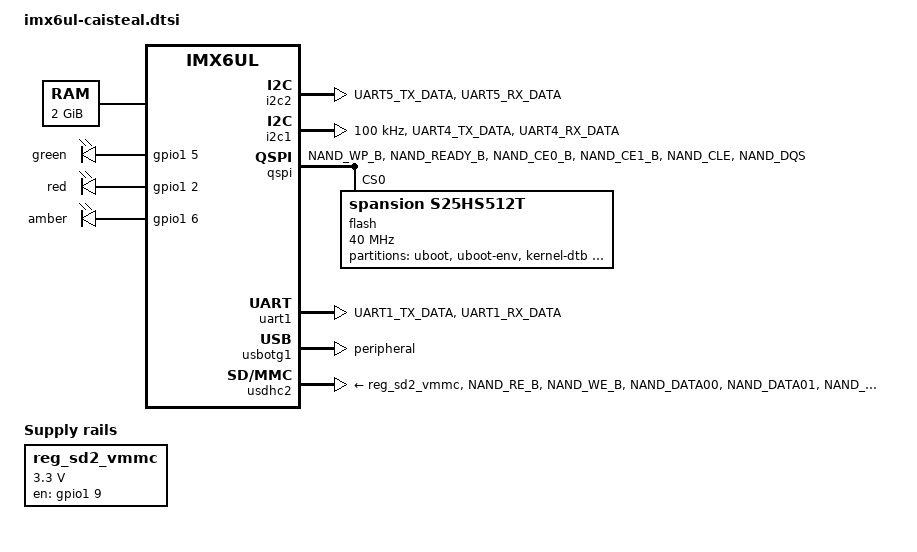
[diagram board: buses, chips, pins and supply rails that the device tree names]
//
// Copyright (C) 2021 Harkirat S Virk

/ {
	aliases {
		// spi0 = &qspi;
	};

	memory@80000000 {
		device_type = "memory";
		reg = <0x80000000 0x80000000>;
	};

	reg_sd2_vmmc: regulator-sd2-vmmc {
		compatible = "regulator-fixed";
		regulator-name = "VSD_3V3";
		regulator-min-microvolt = <3300000>;
		regulator-max-microvolt = <3300000>;
		gpio = <&gpio1 9 GPIO_ACTIVE_HIGH>;
		enable-active-high;
	};

	gpio_leds: leds {
                pinctrl-names = "default";
                pinctrl-0 = <&pinctrl_leds>;
                compatible = "gpio-leds";

                green {
                        label = "green";
                        gpios = <&gpio1 5 0>;
                };

                red {
                        label = "red";
                        gpios = <&gpio1 2 0>;
                };
		
		amber {
			label = "amber";
			gpios = <&gpio1 6 0>;
		};
        };


};


&i2c2 {
	clock_frequency = <100000>;
	pinctrl-names = "default";
	pinctrl-0 = <&pinctrl_i2c2>;
	status = "okay";

};

&i2c1 {
	clock-frequency = <100000>;
	pinctrl-names = "default";
	pinctrl-0 = <&pinctrl_i2c1>;
	status = "okay";

};

&qspi {
	pinctrl-names = "default";
	pinctrl-0 = <&pinctrl_qspi>;
	status = "okay";

	flash: m25p80@0 {
		#address-cells = <1>;
		#size-cells = <1>;
		compatible = "spansion,s25hs512t", "jedec,spi-nor";
		spi-max-frequency = <40000000>;
		spi-rx-bus-width = <4>;
		spi-tx-bus-width = <4>;
		reg = <0>;
		spi-mode = <0>;
                m25p,fast-read;
		status = "okay";

		partition@uboot {
                	label = "uboot";
                	reg = <0x00000000 0x00100000>;
        	};
		partition@uboot-env {
                	label = "uboot-env";
                	reg = <0x00100000 0x00040000>;
        	};
        	partition@kernel-dtb {
                        label = "kernel-dtb";
                        reg = <0x00140000 0x00040000>;
                };
		partition@kernel {
                	label = "kernel";
                	reg = <0x00180000 0x00A00000>;
        	};
        	partition@root {
                	label = "root";
                	reg = <0x00B80000 0x03480000>;
        	};

	};
};

&snvs_poweroff {
	status = "okay";
};

&uart1 {
	pinctrl-names = "default";
	pinctrl-0 = <&pinctrl_uart1>;
	status = "okay";
};

&usbotg1 {
	dr_mode = "peripheral";
	disable-over-current;
	tpl-support;
	status = "okay";
};

&usbphy1 {
	fsl,tx-d-cal = <106>;
};

&usdhc2 {
	pinctrl-names = "default";
	pinctrl-0 = <&pinctrl_usdhc2>;
	vmmc-supply = <&reg_sd2_vmmc>;
	broken-cd;
	keep-power-in-suspend;
	wakeup-source;
	status = "okay";
};

&wdog1 {
	pinctrl-names = "default";
	pinctrl-0 = <&pinctrl_wdog>;
	fsl,ext-reset-output;
};

&iomuxc {
	pinctrl-names = "default";

	pinctrl_i2c1: i2c1grp {
		fsl,pins = <
			MX6UL_PAD_UART4_TX_DATA__I2C1_SCL 0x4001b8b0
			MX6UL_PAD_UART4_RX_DATA__I2C1_SDA 0x4001b8b0
		>;
	};

	pinctrl_i2c2: i2c2grp {
		fsl,pins = <
			MX6UL_PAD_UART5_TX_DATA__I2C2_SCL 0x4001b8b0
			MX6UL_PAD_UART5_RX_DATA__I2C2_SDA 0x4001b8b0
		>;
	};

	pinctrl_qspi: qspigrp {
		fsl,pins = <
			MX6UL_PAD_NAND_WP_B__QSPI_A_SCLK	0x70a1
			MX6UL_PAD_NAND_READY_B__QSPI_A_DATA00	0x70a1
			MX6UL_PAD_NAND_CE0_B__QSPI_A_DATA01	0x70a1
			MX6UL_PAD_NAND_CE1_B__QSPI_A_DATA02	0x70a1
			MX6UL_PAD_NAND_CLE__QSPI_A_DATA03	0x70a1
			MX6UL_PAD_NAND_DQS__QSPI_A_SS0_B	0x70a1
		>;
	};

	pinctrl_leds: ledsgrp {
		fsl,pins = <
			MX6UL_PAD_GPIO1_IO02__GPIO1_IO02	0xd0b0 /* Red LED */
			MX6UL_PAD_GPIO1_IO05__GPIO1_IO05	0xd0b0 /* Green LED */
			MX6UL_PAD_GPIO1_IO06__GPIO1_IO06	0xd0b0 /* Amber LED */
		>;
	};


	pinctrl_uart1: uart1grp {
		fsl,pins = <
			MX6UL_PAD_UART1_TX_DATA__UART1_DCE_TX 0x1b0b1
			MX6UL_PAD_UART1_RX_DATA__UART1_DCE_RX 0x1b0b1
		>;
	};

	pinctrl_usdhc2: usdhc2grp {
		fsl,pins = <
			MX6UL_PAD_NAND_RE_B__USDHC2_CLK     0x17059
			MX6UL_PAD_NAND_WE_B__USDHC2_CMD     0x17059
			MX6UL_PAD_NAND_DATA00__USDHC2_DATA0 0x17059
			MX6UL_PAD_NAND_DATA01__USDHC2_DATA1 0x17059
			MX6UL_PAD_NAND_DATA02__USDHC2_DATA2 0x17059
			MX6UL_PAD_NAND_DATA03__USDHC2_DATA3 0x17059
			MX6UL_PAD_NAND_DATA04__USDHC2_DATA4 0x17059
			MX6UL_PAD_NAND_DATA05__USDHC2_DATA5 0x17059
			MX6UL_PAD_NAND_DATA06__USDHC2_DATA6 0x17059
			MX6UL_PAD_NAND_DATA07__USDHC2_DATA7 0x17059
			MX6UL_PAD_NAND_ALE__USDHC2_RESET_B  0x17059
		>;
	};

	pinctrl_wdog: wdoggrp {
		fsl,pins = <
			MX6UL_PAD_ENET2_RX_ER__WDOG1_WDOG_ANY    0x30b0
		>;
	};
};
